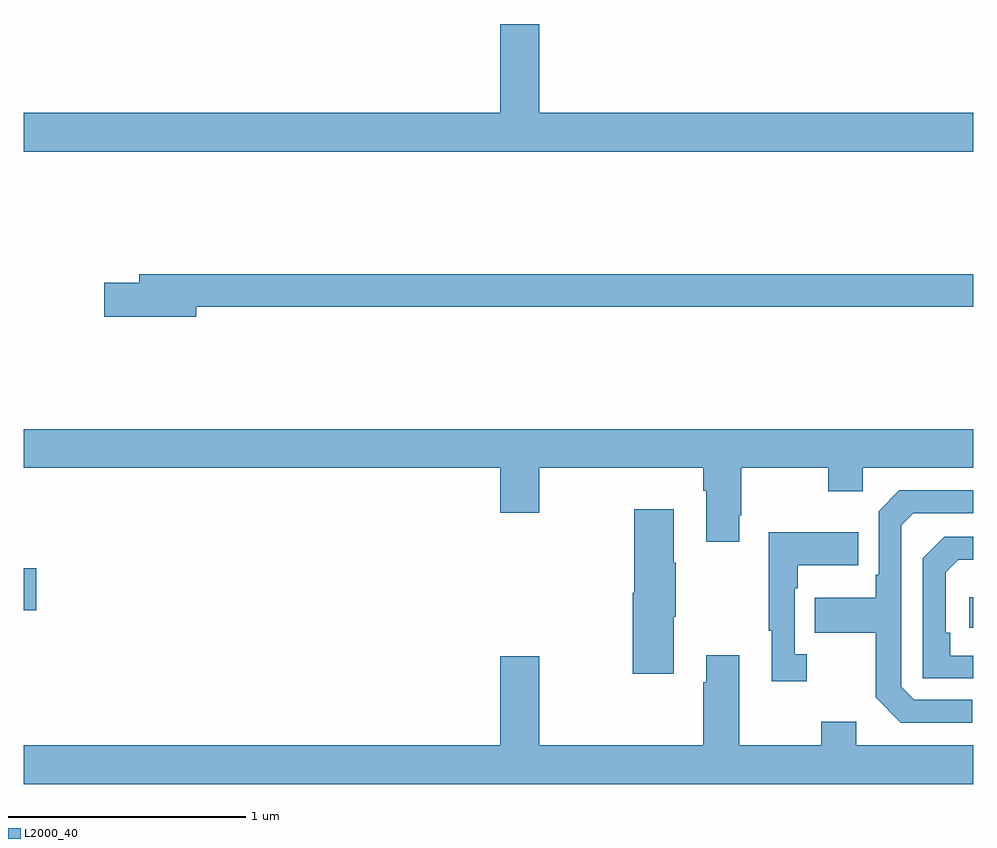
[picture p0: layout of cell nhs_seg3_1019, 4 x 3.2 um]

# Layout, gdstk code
import gdstk
lib = gdstk.Library(unit=1e-6, precision=1e-09)
def R(c, l, rs):  # rectangles x0, y0, x1, y1
    for r in rs: c.add(gdstk.rectangle(r[:2], r[2:], *l))
def P(c, l, *ps):  # polygons
    for p in ps: c.add(gdstk.Polygon(p, *l))
L2000_40 = (2000, 40)

nhs_seg3_1019 = lib.new_cell('nhs_seg3_1019')
R(nhs_seg3_1019, L2000_40, [(166.983,725.55,167,725.68), (163,725.624,163.051,725.802)])
P(nhs_seg3_1019, L2000_40, [(167,727.72),(165.172,727.72),(165.172,728.095),(165.008,728.095),(165.008,727.72),(163,727.72),(163,727.556),(167,727.556)],
  [(163.726,726.904),(167,726.904),(167,727.04),(163.487,727.04),(163.487,727.004),(163.338,727.004),(163.338,726.862),(163.726,726.862)],
  [(166.015,726.025),(166.023,726.025),(166.023,726.224),(166.39,726.224),(166.39,726.125),(166.536,726.125),(166.536,726.224),(167,726.224),(167,726.388),(163,726.388),(163,726.224),(165.008,726.224),(165.008,726.036),(165.172,726.036),(165.172,726.224),(165.863,726.224),(165.863,726.128),(165.875,726.128),(165.875,725.913),(166.015,725.913)],
  [(166.996,725.247),(166.752,725.247),(166.698,725.301),(166.698,725.982),(166.749,726.033),(167,726.033),(167,726.129),(166.689,726.129),(166.602,726.042),(166.602,725.773),(166.59,725.773),(166.59,725.677),(166.333,725.677),(166.333,725.53),(166.59,725.53),(166.59,725.257),(166.695,725.151),(166.996,725.151)],
  [(165.739,725.597),(165.747,725.597),(165.747,725.825),(165.739,725.825),(165.739,726.049),(165.572,726.049),(165.572,725.697),(165.566,725.697),(165.566,725.357),(165.739,725.357)],
  [(166.3,725.438),(166.248,725.438),(166.248,725.717),(166.261,725.717),(166.261,725.813),(166.517,725.813),(166.517,725.953),(166.14,725.953),(166.14,725.537),(166.151,725.537),(166.151,725.325),(166.3,725.325)],
  [(167,725.433),(166.904,725.433),(166.904,725.53),(166.884,725.53),(166.884,725.784),(166.937,725.837),(167,725.837),(167,725.934),(166.878,725.934),(166.788,725.844),(166.788,725.337),(167,725.337)],
  [(167,725.056),(166.507,725.056),(166.507,725.155),(166.36,725.155),(166.36,725.056),(166.015,725.056),(166.015,725.434),(165.875,725.434),(165.875,725.321),(165.863,725.321),(165.863,725.056),(165.172,725.056),(165.172,725.431),(165.008,725.431),(165.008,725.056),(163,725.056),(163,724.892),(167,724.892)])

lib.write_gds('nhs_seg3_1019.gds')
